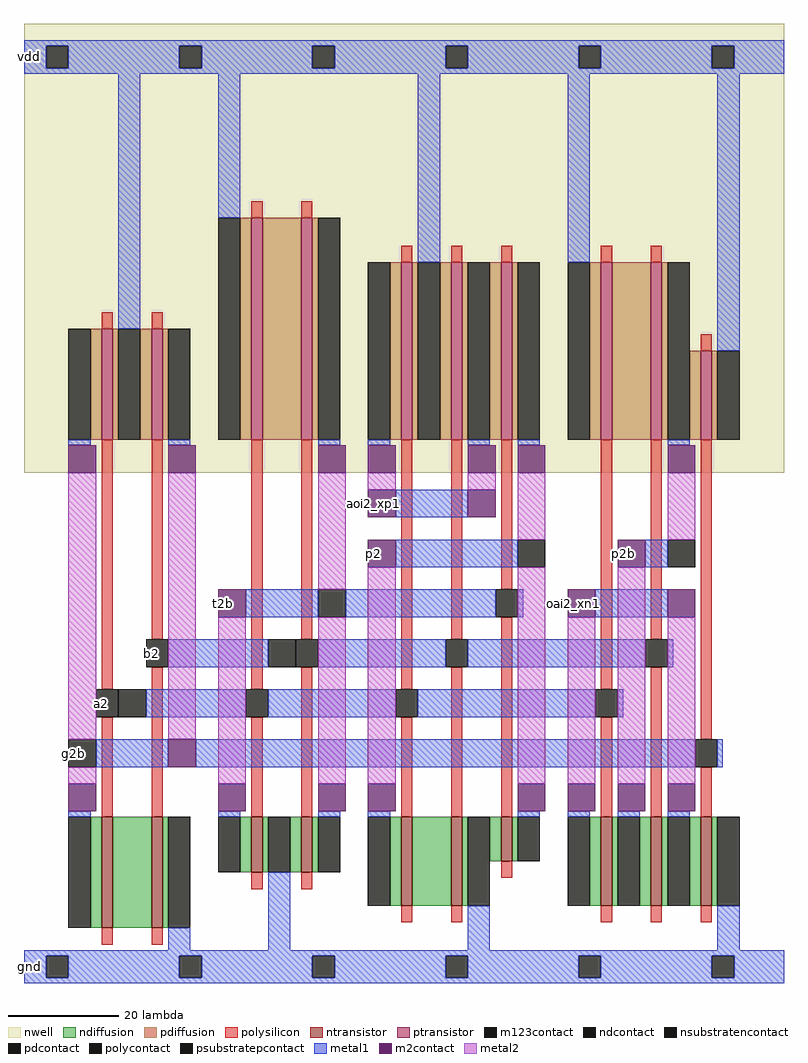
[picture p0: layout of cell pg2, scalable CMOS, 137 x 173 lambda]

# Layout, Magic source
magic
tech scmos
<< nwell >>
rect 0 92 137 173
<< ntransistor >>
rect 14 10 16 30
rect 23 10 25 30
rect 41 20 43 30
rect 50 20 52 30
rect 68 14 70 30
rect 77 14 79 30
rect 86 22 88 30
rect 104 14 106 30
rect 113 14 115 30
rect 122 14 124 30
<< ptransistor >>
rect 14 98 16 118
rect 23 98 25 118
rect 41 98 43 138
rect 50 98 52 138
rect 68 98 70 130
rect 77 98 79 130
rect 86 98 88 130
rect 104 98 106 130
rect 113 98 115 130
rect 122 98 124 114
<< ndiffusion >>
rect 12 10 14 30
rect 16 10 23 30
rect 25 10 26 30
rect 39 20 41 30
rect 43 20 44 30
rect 48 20 50 30
rect 52 20 53 30
rect 66 14 68 30
rect 70 14 77 30
rect 79 14 80 30
rect 84 22 86 30
rect 88 22 89 30
rect 102 14 104 30
rect 106 14 107 30
rect 111 14 113 30
rect 115 14 116 30
rect 120 14 122 30
rect 124 14 125 30
<< pdiffusion >>
rect 12 98 14 118
rect 16 98 17 118
rect 21 98 23 118
rect 25 98 26 118
rect 39 98 41 138
rect 43 98 50 138
rect 52 98 53 138
rect 66 98 68 130
rect 70 98 71 130
rect 75 98 77 130
rect 79 98 80 130
rect 84 98 86 130
rect 88 98 89 130
rect 102 98 104 130
rect 106 98 113 130
rect 115 98 116 130
rect 120 98 122 114
rect 124 98 125 114
<< ndcontact >>
rect 8 10 12 30
rect 26 10 30 30
rect 35 20 39 30
rect 44 20 48 30
rect 53 20 57 30
rect 62 14 66 30
rect 80 14 84 30
rect 89 22 93 30
rect 98 14 102 30
rect 107 14 111 30
rect 116 14 120 30
rect 125 14 129 30
<< pdcontact >>
rect 8 98 12 118
rect 17 98 21 118
rect 26 98 30 118
rect 35 98 39 138
rect 53 98 57 138
rect 62 98 66 130
rect 71 98 75 130
rect 80 98 84 130
rect 89 98 93 130
rect 98 98 102 130
rect 116 98 120 130
rect 125 98 129 114
<< psubstratepcontact >>
rect 4 1 8 5
rect 28 1 32 5
rect 52 1 56 5
rect 76 1 80 5
rect 100 1 104 5
rect 124 1 128 5
<< nsubstratencontact >>
rect 4 165 8 169
rect 28 165 32 169
rect 52 165 56 169
rect 76 165 80 169
rect 100 165 104 169
rect 124 165 128 169
<< polysilicon >>
rect 41 138 43 141
rect 50 138 52 141
rect 14 118 16 121
rect 23 118 25 121
rect 68 130 70 133
rect 77 130 79 133
rect 86 130 88 133
rect 104 130 106 133
rect 113 130 115 133
rect 122 114 124 117
rect 14 53 16 98
rect 23 62 25 98
rect 14 30 16 48
rect 23 30 25 57
rect 41 53 43 98
rect 50 62 52 98
rect 41 30 43 48
rect 50 30 52 57
rect 68 53 70 98
rect 77 62 79 98
rect 86 71 88 98
rect 68 30 70 48
rect 77 30 79 57
rect 86 30 88 66
rect 104 53 106 98
rect 113 62 115 98
rect 104 30 106 48
rect 113 30 115 57
rect 122 44 124 98
rect 122 30 124 39
rect 41 17 43 20
rect 50 17 52 20
rect 86 19 88 22
rect 68 11 70 14
rect 77 11 79 14
rect 104 11 106 14
rect 113 11 115 14
rect 122 11 124 14
rect 14 7 16 10
rect 23 7 25 10
<< polycontact >>
rect 22 57 26 62
rect 13 48 17 53
rect 49 57 53 62
rect 40 48 44 53
rect 85 66 89 71
rect 76 57 80 62
rect 67 48 71 53
rect 112 57 116 62
rect 103 48 107 53
rect 121 39 125 44
<< metal1 >>
rect 0 169 137 170
rect 0 165 4 169
rect 8 165 28 169
rect 32 165 52 169
rect 56 165 76 169
rect 80 165 100 169
rect 104 165 124 169
rect 128 165 137 169
rect 0 164 137 165
rect 17 118 21 164
rect 35 138 39 164
rect 71 130 75 164
rect 98 130 102 164
rect 8 97 12 98
rect 26 97 30 98
rect 53 97 57 98
rect 62 97 66 98
rect 80 97 84 98
rect 125 114 129 164
rect 89 97 93 98
rect 116 97 120 98
rect 67 84 80 89
rect 67 75 89 80
rect 112 75 116 80
rect 40 66 53 71
rect 58 66 85 71
rect 89 66 90 71
rect 103 66 116 71
rect 26 57 44 62
rect 53 57 76 62
rect 80 57 112 62
rect 116 57 117 62
rect 22 48 40 53
rect 44 48 67 53
rect 71 48 103 53
rect 107 48 108 53
rect 13 39 26 44
rect 31 39 121 44
rect 125 39 126 44
rect 8 30 12 31
rect 35 30 39 31
rect 53 30 57 31
rect 62 30 66 31
rect 89 30 93 31
rect 26 6 30 10
rect 44 6 48 20
rect 98 30 102 31
rect 107 30 111 31
rect 116 30 120 31
rect 80 6 84 14
rect 125 6 129 14
rect 0 5 137 6
rect 0 1 4 5
rect 8 1 28 5
rect 32 1 52 5
rect 56 1 76 5
rect 80 1 100 5
rect 104 1 124 5
rect 128 1 137 5
rect 0 0 137 1
<< m2contact >>
rect 8 92 13 97
rect 26 92 31 97
rect 53 92 58 97
rect 62 92 67 97
rect 80 92 85 97
rect 89 92 94 97
rect 116 92 121 97
rect 62 84 67 89
rect 80 84 85 89
rect 62 75 67 80
rect 107 75 112 80
rect 35 66 40 71
rect 98 66 103 71
rect 116 66 121 71
rect 26 39 31 44
rect 8 31 13 36
rect 35 31 40 36
rect 53 31 58 36
rect 62 31 67 36
rect 89 31 94 36
rect 98 31 103 36
rect 107 31 112 36
rect 116 31 121 36
<< metal2 >>
rect 8 44 13 92
rect 26 44 31 92
rect 53 71 58 92
rect 62 89 67 92
rect 80 89 85 92
rect 89 80 94 92
rect 116 80 121 92
rect 8 36 13 39
rect 35 36 40 66
rect 53 36 58 66
rect 62 36 67 75
rect 89 36 94 75
rect 98 36 103 66
rect 107 36 112 75
rect 116 36 121 66
<< m123contact >>
rect 17 48 22 53
rect 8 39 13 44
rect 53 66 58 71
rect 44 57 49 62
rect 89 75 94 80
rect 116 75 121 80
<< labels >>
rlabel metal1 13 48 15 53 0 a2
port 1 nsew
rlabel metal1 22 57 24 62 0 b2
port 2 nsew
rlabel metal1 8 39 10 44 0 g2b
port 3 nsew
rlabel m2contact 62 75 64 80 0 p2
port 4 nsew
rlabel m2contact 107 75 109 80 0 p2b
port 5 nsew
rlabel m2contact 35 66 37 71 0 t2b
port 6 nsew
rlabel m2contact 62 84 64 89 0 aoi2_xp1
rlabel m2contact 98 66 100 71 0 oai2_xn1
rlabel metal1 0 164 2 170 0 vdd
port 7 nsew
rlabel metal1 0 0 2 6 0 gnd
port 8 nsew
<< end >>
